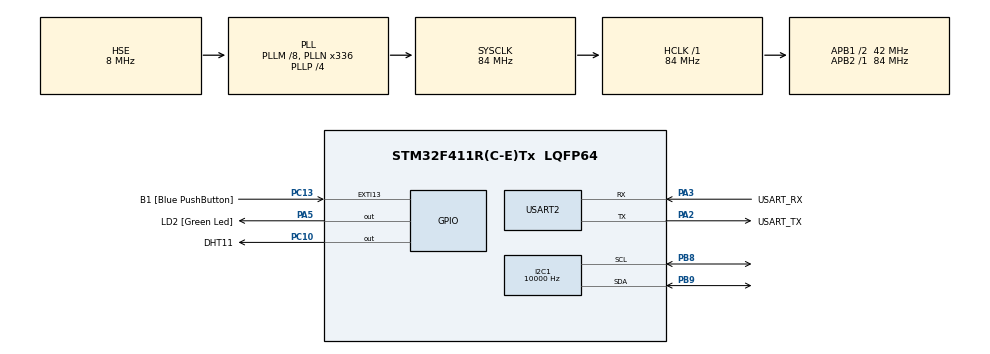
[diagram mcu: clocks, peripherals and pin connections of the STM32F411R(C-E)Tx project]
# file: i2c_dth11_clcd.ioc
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I2C1.ClockSpeed=10000
Mcu.Family=STM32F4
Mcu.Name=STM32F411R(C-E)Tx
Mcu.Package=LQFP64
NVIC.PriorityGroup=NVIC_PRIORITYGROUP_0
PA13.GPIO_Label=TMS
PA13.Mode=Serial_Wire
PA13.Signal=SYS_JTMS-SWDIO
PA14.GPIO_Label=TCK
PA14.Mode=Serial_Wire
PA14.Signal=SYS_JTCK-SWCLK
PA2.GPIO_Label=USART_TX
PA2.Mode=Asynchronous
PA2.Signal=USART2_TX
PA3.GPIO_Label=USART_RX
PA3.Mode=Asynchronous
PA3.Signal=USART2_RX
PA5.GPIO_Label=LD2 [Green Led]
PA5.Signal=GPIO_Output
PB3.GPIO_Label=SWO
PB3.Signal=SYS_JTDO-SWO
PB8.Mode=I2C
PB8.Signal=I2C1_SCL
PB9.Mode=I2C
PB9.Signal=I2C1_SDA
PC10.GPIO_Label=DHT11
PC10.Signal=GPIO_Output
PC13-ANTI_TAMP.GPIO_Label=B1 [Blue PushButton]
PC13-ANTI_TAMP.GPIO_ModeDefaultEXTI=GPIO_MODE_IT_FALLING
PC13-ANTI_TAMP.Signal=GPXTI13
PC14-OSC32_IN.Mode=LSE-External-Oscillator
PC14-OSC32_IN.Signal=RCC_OSC32_IN
PC15-OSC32_OUT.Mode=LSE-External-Oscillator
PC15-OSC32_OUT.Signal=RCC_OSC32_OUT
PH0\ -\ OSC_IN.Mode=HSE-External-Oscillator
PH0\ -\ OSC_IN.Signal=RCC_OSC_IN
PH1\ -\ OSC_OUT.Mode=HSE-External-Oscillator
PH1\ -\ OSC_OUT.Signal=RCC_OSC_OUT
ProjectManager.HeapSize=0x200
ProjectManager.StackSize=0x400
ProjectManager.TargetToolchain=STM32CubeIDE
RCC.48MHZClocksFreq_Value=84000000
RCC.AHBFreq_Value=84000000
RCC.APB1CLKDivider=RCC_HCLK_DIV2
RCC.APB1Freq_Value=42000000
RCC.APB1TimFreq_Value=84000000
RCC.APB2Freq_Value=84000000
RCC.APB2TimFreq_Value=84000000
RCC.CortexFreq_Value=84000000
RCC.FLatency-AdvancedSettings=FLASH_LATENCY_2
RCC.HCLKFreq_Value=84000000
RCC.HSE_VALUE=8000000
RCC.HSI_VALUE=16000000
RCC.PLLM=8
RCC.PLLN=336
RCC.PLLP=RCC_PLLP_DIV4
RCC.PLLSourceVirtual=RCC_PLLSOURCE_HSE
RCC.SYSCLKFreq_VALUE=84000000
RCC.SYSCLKSource=RCC_SYSCLKSOURCE_PLLCLK
RCC.VCOOutputFreq_Value=336000000
USART2.VirtualMode=VM_ASYNC
board=NUCLEO-F411RE

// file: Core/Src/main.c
/* USER CODE BEGIN Header */
/**
 * PORTC10 DHT11
 * PORTB8 I2C1 SCL
 * PORTB9 I2C1 SDA
  ******************************************************************************
  * @file           : main.c
  * @brief          : Main program body
  ******************************************************************************
  * @attention
  *
  * Copyright (c) 2024 STMicroelectronics.
  * All rights reserved.
  *
  * This software is licensed under terms that can be found in the LICENSE file
  * in the root directory of this software component.
  * If no LICENSE file comes with this software, it is provided AS-IS.
  *
  ******************************************************************************
  */
/* USER CODE END Header */
#include "main.h"

/* USER CODE BEGIN Includes */
#include "stdio.h"
/* USER CODE END Includes */

/* USER CODE BEGIN PD */
#ifdef __GNUC__
/* With GCC, small printf (option LD Linker->Libraries->Small printf
   set to 'Yes') calls __io_putchar() */
#define PUTCHAR_PROTOTYPE int __io_putchar(int ch)
#else
#define PUTCHAR_PROTOTYPE int fputc(int ch, FILE *f)
#endif /* __GNUC__ */
/* USER CODE END PD */

I2C_HandleTypeDef hi2c1;

UART_HandleTypeDef huart2;

void SystemClock_Config(void);
static void MX_GPIO_Init(void);
static void MX_USART2_UART_Init(void);
static void MX_I2C1_Init(void);

int main(void)
{

  /* MCU Configuration--------------------------------------------------------*/

  /* Reset of all peripherals, Initializes the Flash interface and the Systick. */
  HAL_Init();

  /* Configure the system clock */
  SystemClock_Config();

  /* Initialize all configured peripherals */
  MX_GPIO_Init();
  MX_USART2_UART_Init();
  MX_I2C1_Init();
  /* USER CODE BEGIN 2 */
  DHT11_Init();
  LCD_init(&hi2c1);

  DHT11_TypeDef dht11Data;
  char buff[30];

  printf("start main() dht\r\n");
  LCD_writeStringXY(0, 0, "hello lcd");
  /* USER CODE END 2 */

  /* Infinite loop */
  /* USER CODE BEGIN WHILE */
  while (1)
  {
		dht11Data = DHT11_readData();
		sprintf(buff,"h: %d%% t: %d.%d'C", dht11Data.rh_byte1, dht11Data.temp_byte1, dht11Data.temp_byte2);
		printf("%s\r\n", buff);
		LCD_writeStringXY(0, 0, buff);
		HAL_Delay(2000);
    /* USER CODE END WHILE */

  }
}

void SystemClock_Config(void)
{
  RCC_OscInitTypeDef RCC_OscInitStruct = {0};
  RCC_ClkInitTypeDef RCC_ClkInitStruct = {0};

  /** Configure the main internal regulator output voltage
  */
  __HAL_RCC_PWR_CLK_ENABLE();
  __HAL_PWR_VOLTAGESCALING_CONFIG(PWR_REGULATOR_VOLTAGE_SCALE1);

  /** Initializes the RCC Oscillators according to the specified parameters
  * in the RCC_OscInitTypeDef structure.
  */
  RCC_OscInitStruct.OscillatorType = RCC_OSCILLATORTYPE_HSE;
  RCC_OscInitStruct.HSEState = RCC_HSE_ON;
  RCC_OscInitStruct.PLL.PLLState = RCC_PLL_ON;
  RCC_OscInitStruct.PLL.PLLSource = RCC_PLLSOURCE_HSE;
  RCC_OscInitStruct.PLL.PLLM = 8;
  RCC_OscInitStruct.PLL.PLLN = 336;
  RCC_OscInitStruct.PLL.PLLP = RCC_PLLP_DIV4;
  RCC_OscInitStruct.PLL.PLLQ = 4;
  if (HAL_RCC_OscConfig(&RCC_OscInitStruct) != HAL_OK)
  {
    Error_Handler();
  }

  /** Initializes the CPU, AHB and APB buses clocks
  */
  RCC_ClkInitStruct.ClockType = RCC_CLOCKTYPE_HCLK|RCC_CLOCKTYPE_SYSCLK
                              |RCC_CLOCKTYPE_PCLK1|RCC_CLOCKTYPE_PCLK2;
  RCC_ClkInitStruct.SYSCLKSource = RCC_SYSCLKSOURCE_PLLCLK;
  RCC_ClkInitStruct.AHBCLKDivider = RCC_SYSCLK_DIV1;
  RCC_ClkInitStruct.APB1CLKDivider = RCC_HCLK_DIV2;
  RCC_ClkInitStruct.APB2CLKDivider = RCC_HCLK_DIV1;

  if (HAL_RCC_ClockConfig(&RCC_ClkInitStruct, FLASH_LATENCY_2) != HAL_OK)
  {
    Error_Handler();
  }
}

static void MX_I2C1_Init(void)
{

  hi2c1.Instance = I2C1;
  hi2c1.Init.ClockSpeed = 10000;
  hi2c1.Init.DutyCycle = I2C_DUTYCYCLE_2;
  hi2c1.Init.OwnAddress1 = 0;
  hi2c1.Init.AddressingMode = I2C_ADDRESSINGMODE_7BIT;
  hi2c1.Init.DualAddressMode = I2C_DUALADDRESS_DISABLE;
  hi2c1.Init.OwnAddress2 = 0;
  hi2c1.Init.GeneralCallMode = I2C_GENERALCALL_DISABLE;
  hi2c1.Init.NoStretchMode = I2C_NOSTRETCH_DISABLE;
  if (HAL_I2C_Init(&hi2c1) != HAL_OK)
  {
    Error_Handler();
  }

}

static void MX_USART2_UART_Init(void)
{

  huart2.Instance = USART2;
  huart2.Init.BaudRate = 115200;
  huart2.Init.WordLength = UART_WORDLENGTH_8B;
  huart2.Init.StopBits = UART_STOPBITS_1;
  huart2.Init.Parity = UART_PARITY_NONE;
  huart2.Init.Mode = UART_MODE_TX_RX;
  huart2.Init.HwFlowCtl = UART_HWCONTROL_NONE;
  huart2.Init.OverSampling = UART_OVERSAMPLING_16;
  if (HAL_UART_Init(&huart2) != HAL_OK)
  {
    Error_Handler();
  }

}

static void MX_GPIO_Init(void)
{
  GPIO_InitTypeDef GPIO_InitStruct = {0};

  /* GPIO Ports Clock Enable */
  __HAL_RCC_GPIOC_CLK_ENABLE();
  __HAL_RCC_GPIOH_CLK_ENABLE();
  __HAL_RCC_GPIOA_CLK_ENABLE();
  __HAL_RCC_GPIOB_CLK_ENABLE();

  /*Configure GPIO pin Output Level */
  HAL_GPIO_WritePin(LD2_GPIO_Port, LD2_Pin, GPIO_PIN_RESET);

  /*Configure GPIO pin Output Level */
  HAL_GPIO_WritePin(DHT11_GPIO_Port, DHT11_Pin, GPIO_PIN_RESET);

  /*Configure GPIO pin : B1_Pin */
  GPIO_InitStruct.Pin = B1_Pin;
  GPIO_InitStruct.Mode = GPIO_MODE_IT_FALLING;
  GPIO_InitStruct.Pull = GPIO_NOPULL;
  HAL_GPIO_Init(B1_GPIO_Port, &GPIO_InitStruct);

  /*Configure GPIO pin : LD2_Pin */
  GPIO_InitStruct.Pin = LD2_Pin;
  GPIO_InitStruct.Mode = GPIO_MODE_OUTPUT_PP;
  GPIO_InitStruct.Pull = GPIO_NOPULL;
  GPIO_InitStruct.Speed = GPIO_SPEED_FREQ_LOW;
  HAL_GPIO_Init(LD2_GPIO_Port, &GPIO_InitStruct);

  /*Configure GPIO pin : DHT11_Pin */
  GPIO_InitStruct.Pin = DHT11_Pin;
  GPIO_InitStruct.Mode = GPIO_MODE_OUTPUT_PP;
  GPIO_InitStruct.Pull = GPIO_NOPULL;
  GPIO_InitStruct.Speed = GPIO_SPEED_FREQ_LOW;
  HAL_GPIO_Init(DHT11_GPIO_Port, &GPIO_InitStruct);

}

/* USER CODE BEGIN 4 */
/**
  * @brief  Retargets the C library printf function to the USART.
  * @param  None
  * @retval None
  */
PUTCHAR_PROTOTYPE
{
  /* Place your implementation of fputc here */
  /* e.g. write a character to the USART6 and Loop until the end of transmission */
  HAL_UART_Transmit(&huart2, (uint8_t *)&ch, 1, 0xFFFF);

  return ch;
}
/* USER CODE END 4 */

void Error_Handler(void)
{
  __disable_irq();
  while (1)
  {
  }
}
